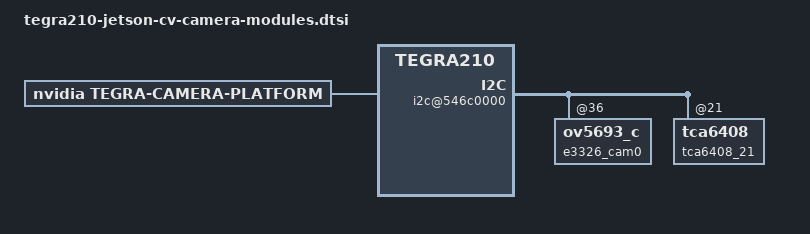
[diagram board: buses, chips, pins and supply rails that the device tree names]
/*
 * Copyright (c) 2016, NVIDIA CORPORATION.  All rights reserved.
 *
 * This program is free software; you can redistribute it and/or modify
 * it under the terms of the GNU General Public License as published by
 * the Free Software Foundation; version 2 of the License.
 *
 * This program is distributed in the hope that it will be useful, but WITHOUT
 * ANY WARRANTY; without even the implied warranty of MERCHANTABILITY or
 * FITNESS FOR A PARTICULAR PURPOSE.  See the GNU General Public License for
 * more details.
 *
 */

#include "tegra210-platforms/tegra210-jetson-cv-camera-e3333-a00.dtsi"
#include "tegra210-platforms/tegra210-jetson-cv-camera-e3322-a00.dtsi"
#include "tegra210-platforms/tegra210-jetson-cv-camera-e3323-a00.dtsi"
#include "tegra210-platforms/tegra210-jetson-cv-camera-e3326-a00.dtsi"

#define CAM0_RST_L	TEGRA_GPIO(S, 4)
#define CAM0_PWDN	TEGRA_GPIO(S, 7)
#define CAM1_RST_L	TEGRA_GPIO(S, 5)
#define CAM1_PWDN	TEGRA_GPIO(T, 0)

/ {
	/* set camera gpio direction to output */
	gpio: gpio@6000d000 {
		camera-control {
			gpio-output-low = <
				CAM0_RST_L
				CAM0_PWDN
				CAM1_RST_L
				CAM1_PWDN
				>;
		};
	};

	/* all cameras are disabled by default */
	host1x {
		vi_base: vi {
			ports {
				/* keep port0 enabled for E3326 */
				vi_port0: port@0 {
					status = "okay";
					vi_in0: endpoint {
						status = "okay";
					};
				};
				vi_port1: port@1 {
					status = "disabled";
					vi_in1: endpoint {
						status = "disabled";
					};
				};
				vi_port2: port@2 {
					status = "disabled";
					vi_in2: endpoint {
						status = "disabled";
					};
				};
				vi_port3: port@3 {
					status = "disabled";
					vi_in3: endpoint {
						status = "disabled";
					};
				};
				vi_port4: port@4 {
					status = "disabled";
					vi_in4: endpoint {
						status = "disabled";
					};
				};
				vi_port5: port@5 {
					status = "disabled";
					vi_in5: endpoint {
						status = "disabled";
					};
				};
			};
		};
		i2c@546c0000 {
			e3326_cam0: ov5693_c@36 {
				status = "okay";
			};
			e3323_cam0: ov23850_a@10 {
				status = "disabled";
			};
			e3323_vcm0: lc898212@72 {
				status = "disabled";
			};
			cam_tca6408_21: tca6408@21 {
				status = "disabled";
			};
			cam_tca9548_77: tca9548@77 {
				status = "disabled";
				i2c@0 {
					e3322_cam0: imx219_a@10 {
						status = "disabled";
					};
					e3333_cam0: ov5693_a@36 {
						status = "disabled";
					};
				};
				i2c@1 {
					e3322_cam1: imx219_b@10 {
						status = "disabled";
					};
					e3333_cam1: ov5693_b@36 {
						status = "disabled";
					};
				};
				i2c@2 {
					e3322_cam2: imx219_c@10 {
						status = "disabled";
					};
					e3333_cam2: ov5693_c@36 {
						status = "disabled";
					};
				};
				i2c@3 {
					e3322_cam3: imx219_d@10 {
						status = "disabled";
					};
					e3333_cam3: ov5693_d@36 {
						status = "disabled";
					};
				};
				i2c@4 {
					e3322_cam4: imx219_e@10 {
						status = "disabled";
					};
					e3333_cam4: ov5693_e@36 {
						status = "disabled";
					};
				};
				i2c@5 {
					e3322_cam5: imx219_f@10 {
						status = "disabled";
					};
					e3333_cam5: ov5693_f@36 {
						status = "disabled";
					};
				};
			};
			tca6408_21: tca6408@21 {
				default {
					gpio-output-low = <0 1 2 3 4 5 6 7>;
				};
			};
		};
	};
	i2c@7000c000 {
		e3323_cam1: ov23850_c@36 {
			status = "disabled";
		};
		e3323_vcm1: lc898212@72 {
			status = "disabled";
		};
	};

	tegra-camera-platform {
		compatible = "nvidia, tegra-camera-platform";
		modules {
			cam_module0: module0 {
				status = "okay";
				cam_module0_drivernode0: drivernode0 {
					status = "okay";
				};
				cam_module0_drivernode1: drivernode1 {
					status = "okay";
					pcl_id = "v4l2_focuser_stub";
					proc-device-tree = "";
				};
			};
			cam_module1: module1 {
				status = "disabled";
				cam_module1_drivernode0: drivernode0 {
					status = "disabled";
				};
				cam_module1_drivernode1: drivernode1 {
					status = "disabled";
					pcl_id = "v4l2_focuser_stub";
					proc-device-tree = "";
				};
			};
			cam_module2: module2 {
				status = "disabled";
				cam_module2_drivernode0: drivernode0 {
					status = "disabled";
				};
				cam_module2_drivernode1: drivernode1 {
					status = "disabled";
					pcl_id = "v4l2_focuser_stub";
					proc-device-tree = "";
				};
			};
			cam_module3: module3 {
				status = "disabled";
				cam_module3_drivernode0: drivernode0 {
					status = "disabled";
				};
				cam_module3_drivernode1: drivernode1 {
					status = "disabled";
					pcl_id = "v4l2_focuser_stub";
					proc-device-tree = "";
				};
			};
			cam_module4: module4 {
				status = "disabled";
				cam_module4_drivernode0: drivernode0 {
					status = "disabled";
				};
				cam_module4_drivernode1: drivernode1 {
					status = "disabled";
					pcl_id = "v4l2_focuser_stub";
					proc-device-tree = "";
				};
			};
			cam_module5: module5 {
				status = "disabled";
				cam_module5_drivernode0: drivernode0 {
					status = "disabled";
				};
				cam_module5_drivernode1: drivernode1 {
					status = "disabled";
					pcl_id = "v4l2_focuser_stub";
					proc-device-tree = "";
				};
			};
		};
	};
};
